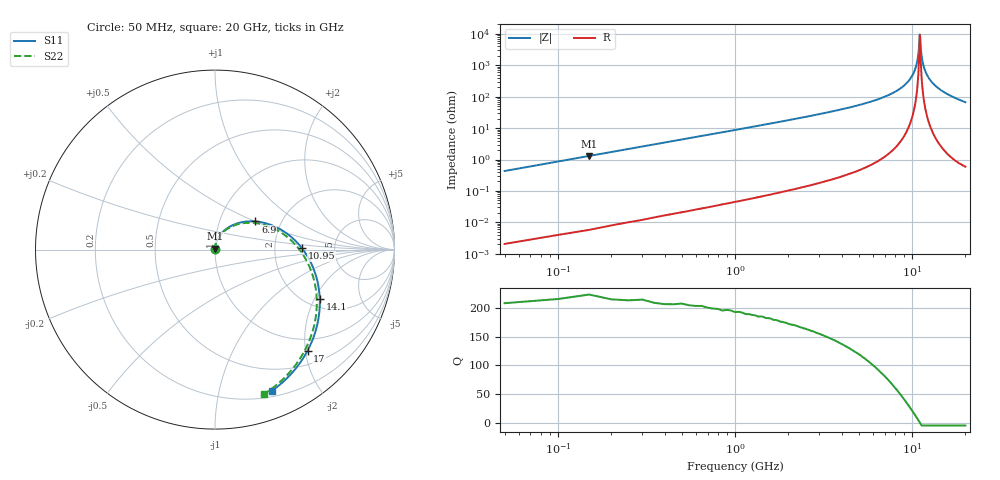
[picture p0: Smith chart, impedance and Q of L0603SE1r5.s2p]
!	AVX	Thin	Film	Operation	Date:	2004
!	Description:	"Series,"	Thin	"Film,"	"LGA,"	RF	Inductors
!	Part	Number:	L06031r5nH
!	50	MHz	-	20	GHz
!	Serial	Measurements
#	mhz	S	db	R	50
!	S11	S11	S21	S21	S12	S12	S22	S22
!	dB	Phase	dB	Phase	dB	Phase	dB	Phase
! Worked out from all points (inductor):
!   400 points, 50 MHz to 20 GHz, reference 50 ohm
!   read as 1/Y11, port 2 shorted: L = 1.37 nH near 150 MHz
!   highest Q = 214 at 150 MHz (marker M1), where L = 1.37 nH
!   self-resonance near 11.05 GHz
!   S11 on the Smith chart (normalised r, x): 50 MHz: 1.00, +0.00; 6.9 GHz: 1.48, +0.50; 10.95 GHz: 2.87, +0.06; 14.1 GHz: 2.35, -2.20; 17 GHz: 0.76, -2.04; 20 GHz: 0.26, -1.45
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50  -55.16 89.0  -0.00 -0.4  -0.00 -0.4  -55.16 88.9
100  -49.14 88.6  -0.00 -0.8  -0.00 -0.8  -49.14 88.5
150  -45.62 88.2  -0.00 -1.2  -0.00 -1.2  -45.62 88.1
250  -41.18 87.4  -0.00 -2.0  -0.00 -2.0  -41.18 87.3
350  -38.25 86.6  -0.00 -2.8  -0.00 -2.8  -38.25 86.5
450  -36.07 85.9  -0.00 -3.5  -0.00 -3.5  -36.07 85.7
700  -32.22 83.9  -0.01 -5.5  -0.01 -5.5  -32.22 83.6
1050  -28.67 81.2  -0.01 -8.3  -0.01 -8.3  -28.67 80.8
1450  -25.84 78.1  -0.02 -11.4  -0.02 -11.4  -25.84 77.5
2000  -22.99 73.9  -0.03 -15.8  -0.03 -15.8  -22.99 73.0
3400  -18.18 62.9  -0.08 -26.9  -0.08 -26.9  -18.17 61.5
4850  -14.80 51.5  -0.17 -38.6  -0.17 -38.6  -14.80 49.5
6700  -11.54 36.5  -0.35 -53.8  -0.35 -53.8  -11.54 34.0
6900  -11.23 34.9  -0.38 -55.5  -0.38 -55.5  -11.23 32.4
8500  -9.02 21.6  -0.64 -68.8  -0.64 -68.8  -9.02 18.8
10050  -7.22 8.6  -0.99 -81.9  -0.99 -81.9  -7.22 5.5
10950  -6.31 1.0  -1.24 -89.6  -1.24 -89.6  -6.30 -2.1
13350  -4.32 -19.0  -2.13 -109.6  -2.13 -109.6  -4.31 -22.3
14100  -3.81 -25.1  -2.47 -115.7  -2.47 -115.7  -3.81 -28.4
16700  -2.46 -45.3  -3.85 -135.8  -3.85 -135.8  -2.46 -48.5
17000  -2.34 -47.5  -4.02 -138.0  -4.02 -138.0  -2.34 -50.7
20000  -1.43 -68.1  -5.88 -158.3  -5.88 -158.3  -1.43 -71.0
